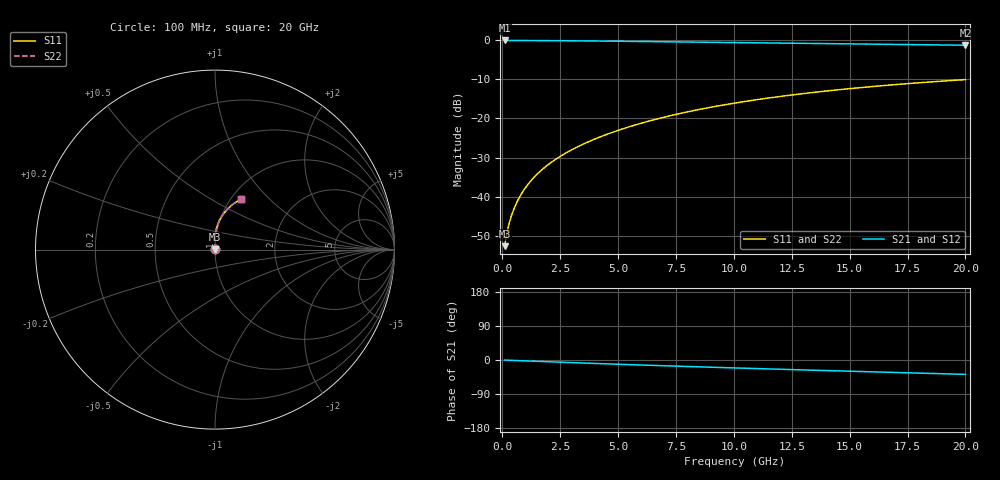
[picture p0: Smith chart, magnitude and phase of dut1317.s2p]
! Touchstone file exported from HFSS 2024.1.0
!  File:  C:/UserFiles/LocalFiles/RDL_TSV_Batchsim/temp_RDL_top_1317_1780364893.aedt
!  Generated:  09:50:21 AM Jun  2, 2026
!  Design:  RDL_top
!  Project:  temp_RDL_top_1317_1780364893
!  Setup:  Setup1
!  Solution:  Sweep
! Variables:
!  dtsv = 10.80580581um
!  hbump = 3um
!  htsv = 95.55um
!  ldown = 100um
!  lrdl = 536.14um
!  p = 40
!  p1 = 57.08um
!  rhole = 1um
!  t = 450um
!  tdown = 3.915915916um
!  trdl = 4.25um
!  wdown = 15.38538539um
!  wrdl = 28.3um
# GHz S MA R 50.000000
! Terminal data exported
! Port[1] = Box2_T1
! Port[2] = Box2_T2
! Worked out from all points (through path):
!   200 points, 100 MHz to 20 GHz, reference 50 ohm
!   highest |S21| = -0.02 dB at 100 MHz (marker M1); lowest = -1.2 dB at 20 GHz (marker M2)
!   group delay of S21, straight-line fit = 5.18 ps
!   lowest |S11| = -52.7 dB at 100 MHz (marker M3), VSWR 1.00, Z = 50.2 + j0.146 ohm
!   |S11| at or under -10 dB: start of sweep to end of sweep
!   |S22| runs from -52.7 to -10.0 dB; largest |S21 - S12| = 2.7e-15
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0.1  0.002316 38.9  0.9982 -0.2  0.9982 -0.2  0.002316 38.9
! Gamma 0 0 0 0
! Port Impedance 50 0 50 0
0.2  0.003412 55.5  0.998 -0.5  0.998 -0.5  0.003412 55.5
0.3  0.004569 63.4  0.9978 -0.7  0.9978 -0.7  0.004568 63.4
0.4  0.005731 68.4  0.9977 -1.0  0.9977 -1.0  0.005731 68.4
0.5  0.006905 71.9  0.9975 -1.2  0.9975 -1.2  0.006905 71.9
0.6  0.008094 74.6  0.9973 -1.4  0.9973 -1.4  0.008094 74.6
0.8  0.01051 78.3  0.997 -1.9  0.997 -1.9  0.01051 78.4
1.1  0.01423 81.9  0.9963 -2.6  0.9963 -2.6  0.01423 81.9
1.5  0.01933 84.7  0.9952 -3.5  0.9952 -3.5  0.01933 84.7
2.1  0.02725 87.1  0.993 -4.9  0.993 -4.9  0.02725 87.1
2.7  0.0355 88.5  0.9902 -6.3  0.9902 -6.3  0.03551 88.5
3.5  0.04707 89.5  0.9857 -8.0  0.9857 -8.0  0.04708 89.5
4.2  0.05772 89.7  0.9812 -9.6  0.9812 -9.6  0.05773 89.7
5  0.07043 89.5  0.9757 -11.2  0.9757 -11.2  0.07045 89.5
5.9  0.08531 88.7  0.9692 -13.1  0.9692 -13.1  0.08534 88.8
6.8  0.1007 87.6  0.9624 -14.9  0.9624 -14.9  0.1007 87.7
8.4  0.1286 85.1  0.9504 -17.9  0.9504 -17.9  0.1287 85.1
10.1  0.1586 81.9  0.9377 -21.1  0.9377 -21.1  0.1586 82.0
11.7  0.1863 78.8  0.926 -23.9  0.926 -23.9  0.1864 78.8
13.4  0.215 75.4  0.9138 -26.9  0.9138 -26.9  0.2152 75.4
16.7  0.2674 68.9  0.8903 -32.5  0.8903 -32.5  0.2676 69.0
20  0.3148 62.8  0.8672 -37.9  0.8672 -37.9  0.315 62.9
